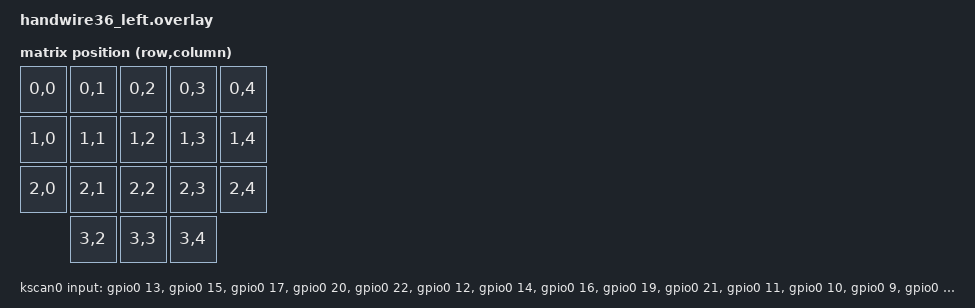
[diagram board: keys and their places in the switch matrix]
/*
 * Copyright 2024 Manna Harbour
 * https://github.com/manna-harbour/miryoku
 *
 * Handwire36 LEFT half (CENTRAL) -- 18 direct pins for nice_nano
 *
 * !!  REPLACE GPIO pin numbers with YOUR actual left-side wiring.
 */

#include <dt-bindings/zmk/matrix_transform.h>

/ {
    chosen {
        zmk,kscan = &kscan0;
        zmk,matrix-transform = &default_transform;
    };

    kscan0: kscan {
        compatible = "zmk,kscan_gpio_direct";
        input-gpios =
            /* K00  K01  K02  K03  K04  <- top row */
            <&gpio0 13 (GPIO_ACTIVE_LOW | GPIO_PULL_UP)>,   /* K00 */
            <&gpio0 15 (GPIO_ACTIVE_LOW | GPIO_PULL_UP)>,   /* K01 */
            <&gpio0 17 (GPIO_ACTIVE_LOW | GPIO_PULL_UP)>,   /* K02 */
            <&gpio0 20 (GPIO_ACTIVE_LOW | GPIO_PULL_UP)>,   /* K03 */
            <&gpio0 22 (GPIO_ACTIVE_LOW | GPIO_PULL_UP)>,   /* K04 */
            /* K10  K11  K12  K13  K14  <- middle row */
            <&gpio0 12 (GPIO_ACTIVE_LOW | GPIO_PULL_UP)>,   /* K10 */
            <&gpio0 14 (GPIO_ACTIVE_LOW | GPIO_PULL_UP)>,   /* K11 */
            <&gpio0 16 (GPIO_ACTIVE_LOW | GPIO_PULL_UP)>,   /* K12 */
            <&gpio0 19 (GPIO_ACTIVE_LOW | GPIO_PULL_UP)>,   /* K13 */
            <&gpio0 21 (GPIO_ACTIVE_LOW | GPIO_PULL_UP)>,   /* K14 */
            /* K20  K21  K22  K23  K24  <- bottom row */
            <&gpio0 11 (GPIO_ACTIVE_LOW | GPIO_PULL_UP)>,   /* K20 */
            <&gpio0 10 (GPIO_ACTIVE_LOW | GPIO_PULL_UP)>,   /* K21 */
            <&gpio0 9 (GPIO_ACTIVE_LOW | GPIO_PULL_UP)>,    /* K22 */
            <&gpio0 8 (GPIO_ACTIVE_LOW | GPIO_PULL_UP)>,    /* K23 */
            <&gpio0 7 (GPIO_ACTIVE_LOW | GPIO_PULL_UP)>,    /* K24 */
            /* K32  K33  K34              <- thumbs */
            <&gpio0 6 (GPIO_ACTIVE_LOW | GPIO_PULL_UP)>,    /* K32 */
            <&gpio0 5 (GPIO_ACTIVE_LOW | GPIO_PULL_UP)>,    /* K33 */
            <&gpio0 4 (GPIO_ACTIVE_LOW | GPIO_PULL_UP)>,    /* K34 */
            ;
    };

    default_transform: keymap_transform_0 {
        compatible = "zmk,matrix-transform";
        columns = <10>;
        rows = <4>;
        map = <
            RC(0,0) RC(0,1) RC(0,2) RC(0,3) RC(0,4)
            RC(1,0) RC(1,1) RC(1,2) RC(1,3) RC(1,4)
            RC(2,0) RC(2,1) RC(2,2) RC(2,3) RC(2,4)
                     RC(3,2) RC(3,3) RC(3,4)
        >;
    };
};
